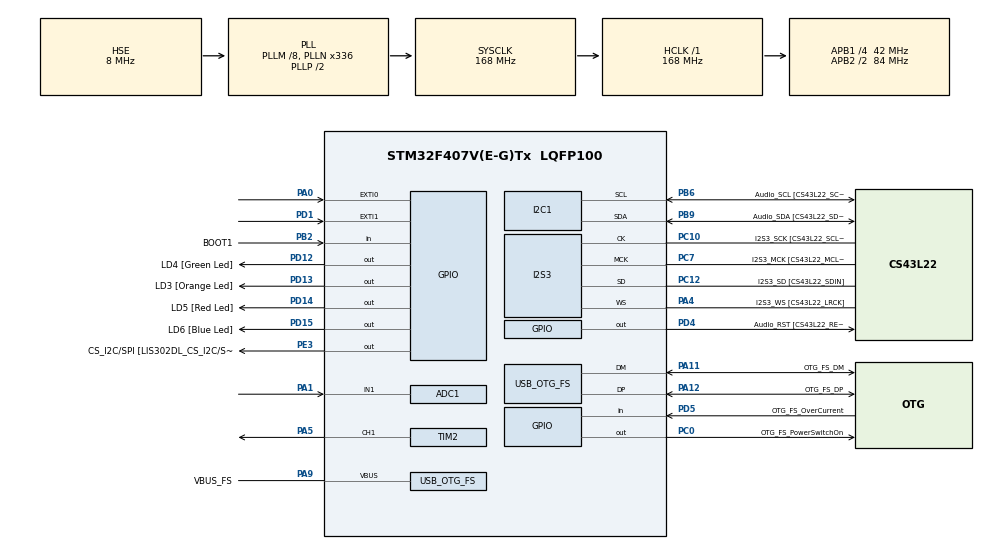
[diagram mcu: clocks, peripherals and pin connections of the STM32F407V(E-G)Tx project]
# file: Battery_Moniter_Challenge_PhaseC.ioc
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ADC1.Channel-0\#ChannelRegularConversion=ADC_CHANNEL_1
ADC1.ContinuousConvMode=ENABLE
ADC1.NbrOfConversionFlag=1
ADC1.Rank-0\#ChannelRegularConversion=1
ADC1.SamplingTime-0\#ChannelRegularConversion=ADC_SAMPLETIME_480CYCLES
ADC1.master=1
I2S3.AudioFreq-Half_Duplex_Master=I2S_AUDIOFREQ_96K
I2S3.ErrorAudioFreq=-2.34 %
I2S3.ErrorAudioFreq-Half_Duplex_Master=0.8 %
I2S3.FullDuplexMode=I2S_FULLDUPLEXMODE_DISABLE
I2S3.Instance=SPI$Index
I2S3.RealAudioFreq=93.75 KHz
I2S3.RealAudioFreq-Half_Duplex_Master=96.774 KHz
I2S3.VirtualMode=I2S_MODE_MASTER
Mcu.Family=STM32F4
Mcu.Name=STM32F407V(E-G)Tx
Mcu.Package=LQFP100
NVIC.ADC_IRQn=true\:0\:0\:false\:false\:true\:true\:true\:true
NVIC.EXTI1_IRQn=true\:0\:0\:false\:false\:true\:true\:true\:true
NVIC.OTG_FS_IRQn=true\:0\:0\:false\:false\:true\:true\:true\:true
NVIC.PriorityGroup=NVIC_PRIORITYGROUP_0
PA0-WKUP.GPIO_ModeDefaultEXTI=GPIO_MODE_IT_RISING
PA0-WKUP.GPIO_PuPd=GPIO_PULLDOWN
PA0-WKUP.Signal=GPXTI0
PA1.Signal=ADCx_IN1
PA10.GPIO_Label=OTG_FS_ID
PA10.GPIO_Mode=GPIO_MODE_AF_PP
PA10.GPIO_PuPd=GPIO_NOPULL
PA10.GPIO_Speed=GPIO_SPEED_FREQ_LOW
PA10.Signal=USB_OTG_FS_ID
PA11.GPIO_Label=OTG_FS_DM
PA11.GPIO_Mode=GPIO_MODE_AF_PP
PA11.GPIO_PuPd=GPIO_NOPULL
PA11.GPIO_Speed=GPIO_SPEED_FREQ_LOW
PA11.Mode=Host_Only
PA11.Signal=USB_OTG_FS_DM
PA12.GPIO_Label=OTG_FS_DP
PA12.GPIO_Mode=GPIO_MODE_AF_PP
PA12.GPIO_PuPd=GPIO_NOPULL
PA12.GPIO_Speed=GPIO_SPEED_FREQ_LOW
PA12.Mode=Host_Only
PA12.Signal=USB_OTG_FS_DP
PA13.GPIO_Label=SWDIO
PA13.Mode=Serial_Wire
PA13.Signal=SYS_JTMS-SWDIO
PA14.GPIO_Label=SWCLK
PA14.Mode=Serial_Wire
PA14.Signal=SYS_JTCK-SWCLK
PA4.GPIO_Label=I2S3_WS [CS43L22_LRCK]
PA4.GPIO_Mode=GPIO_MODE_AF_PP
PA4.GPIO_PuPd=GPIO_NOPULL
PA4.GPIO_Speed=GPIO_SPEED_FREQ_LOW
PA4.Mode=Half_Duplex_Master
PA4.Signal=I2S3_WS
PA5.Signal=S_TIM2_CH1_ETR
PA9.GPIO_Label=VBUS_FS
PA9.GPIO_Mode=GPIO_MODE_INPUT
PA9.GPIO_PuPd=GPIO_NOPULL
PA9.Mode=Activate_VBUS
PA9.Signal=USB_OTG_FS_VBUS
PB10.GPIO_Label=CLK_IN [MP45DT02_CLK]
PB10.GPIO_Mode=GPIO_MODE_AF_PP
PB10.GPIO_PuPd=GPIO_NOPULL
PB10.GPIO_Speed=GPIO_SPEED_FREQ_LOW
PB10.Signal=I2S2_CK
PB2.GPIO_Label=BOOT1
PB2.GPIO_Mode=GPIO_MODE_INPUT
PB2.GPIO_PuPd=GPIO_NOPULL
PB2.Signal=GPIO_Input
PB3.GPIO_Label=SWO
PB3.Signal=SYS_JTDO-SWO
PB6.GPIO_Label=Audio_SCL [CS43L22_SCL]
PB6.GPIO_Mode=GPIO_MODE_AF_OD
PB6.GPIO_Pu=GPIO_PULLUP
PB6.GPIO_PuPd=GPIO_NOPULL
PB6.GPIO_Speed=GPIO_SPEED_FREQ_LOW
PB6.Mode=I2C
PB6.Signal=I2C1_SCL
PB9.GPIO_Label=Audio_SDA [CS43L22_SDA]
PB9.GPIO_Mode=GPIO_MODE_AF_OD
PB9.GPIO_Pu=GPIO_PULLUP
PB9.GPIO_PuPd=GPIO_NOPULL
PB9.GPIO_Speed=GPIO_SPEED_FREQ_LOW
PB9.Mode=I2C
PB9.Signal=I2C1_SDA
PC0.GPIO_Label=OTG_FS_PowerSwitchOn
PC0.GPIO_PuPd=GPIO_NOPULL
PC0.GPIO_Speed=GPIO_SPEED_FREQ_LOW
PC0.PinState=GPIO_PIN_SET
PC0.Signal=GPIO_Output
PC10.GPIO_Label=I2S3_SCK [CS43L22_SCLK]
PC10.GPIO_Mode=GPIO_MODE_AF_PP
PC10.GPIO_PuPd=GPIO_NOPULL
PC10.GPIO_Speed=GPIO_SPEED_FREQ_LOW
PC10.Mode=Half_Duplex_Master
PC10.Signal=I2S3_CK
PC12.GPIO_Label=I2S3_SD [CS43L22_SDIN]
PC12.GPIO_Mode=GPIO_MODE_AF_PP
PC12.GPIO_PuPd=GPIO_NOPULL
PC12.GPIO_Speed=GPIO_SPEED_FREQ_LOW
PC12.Mode=Half_Duplex_Master
PC12.Signal=I2S3_SD
PC14-OSC32_IN.GPIO_Label=PC14-OSC32_IN
PC14-OSC32_IN.Mode=LSE-External-Oscillator
PC14-OSC32_IN.Signal=RCC_OSC32_IN
PC15-OSC32_OUT.GPIO_Label=PC15-OSC32_OUT
PC15-OSC32_OUT.Mode=LSE-External-Oscillator
PC15-OSC32_OUT.Signal=RCC_OSC32_OUT
PC3.GPIO_Label=PDM_OUT [MP45DT02_DOUT]
PC3.GPIO_Mode=GPIO_MODE_AF_PP
PC3.GPIO_PuPd=GPIO_NOPULL
PC3.GPIO_Speed=GPIO_SPEED_FREQ_LOW
PC3.Signal=I2S2_SD
PC7.GPIO_Label=I2S3_MCK [CS43L22_MCLK]
PC7.GPIO_Mode=GPIO_MODE_AF_PP
PC7.GPIO_PuPd=GPIO_NOPULL
PC7.GPIO_Speed=GPIO_SPEED_FREQ_LOW
PC7.Mode=Master_Clock_Activated
PC7.Signal=I2S3_MCK
PD1.GPIO_ModeDefaultEXTI=GPIO_MODE_IT_RISING_FALLING
PD1.GPIO_PuPd=GPIO_PULLDOWN
PD1.Signal=GPXTI1
PD12.GPIO_Label=LD4 [Green Led]
PD12.GPIO_PuPd=GPIO_NOPULL
PD12.GPIO_Speed=GPIO_SPEED_FREQ_LOW
PD12.Signal=GPIO_Output
PD13.GPIO_Label=LD3 [Orange Led]
PD13.GPIO_PuPd=GPIO_NOPULL
PD13.GPIO_Speed=GPIO_SPEED_FREQ_LOW
PD13.Signal=GPIO_Output
PD14.GPIO_Label=LD5 [Red Led]
PD14.GPIO_PuPd=GPIO_NOPULL
PD14.GPIO_Speed=GPIO_SPEED_FREQ_LOW
PD14.Signal=GPIO_Output
PD15.GPIO_Label=LD6 [Blue Led]
PD15.GPIO_PuPd=GPIO_NOPULL
PD15.GPIO_Speed=GPIO_SPEED_FREQ_LOW
PD15.Signal=GPIO_Output
PD4.GPIO_Label=Audio_RST [CS43L22_RESET]
PD4.GPIO_PuPd=GPIO_NOPULL
PD4.GPIO_Speed=GPIO_SPEED_FREQ_LOW
PD4.Signal=GPIO_Output
PD5.GPIO_Label=OTG_FS_OverCurrent
PD5.GPIO_Mode=GPIO_MODE_INPUT
PD5.GPIO_PuPd=GPIO_NOPULL
PD5.Signal=GPIO_Input
PE3.GPIO_Label=CS_I2C/SPI [LIS302DL_CS_I2C/SPI]
PE3.GPIO_PuPd=GPIO_NOPULL
PE3.GPIO_Speed=GPIO_SPEED_FREQ_LOW
PE3.Signal=GPIO_Output
PH0-OSC_IN.GPIO_Label=PH0-OSC_IN
PH0-OSC_IN.Mode=HSE-External-Oscillator
PH0-OSC_IN.Signal=RCC_OSC_IN
PH1-OSC_OUT.GPIO_Label=PH1-OSC_OUT
PH1-OSC_OUT.Mode=HSE-External-Oscillator
PH1-OSC_OUT.Signal=RCC_OSC_OUT
ProjectManager.HeapSize=0x200
ProjectManager.StackSize=0x400
ProjectManager.TargetToolchain=STM32CubeIDE
RCC.48MHZClocksFreq_Value=48000000
RCC.AHBFreq_Value=168000000
RCC.APB1CLKDivider=RCC_HCLK_DIV4
RCC.APB1Freq_Value=42000000
RCC.APB1TimFreq_Value=84000000
RCC.APB2CLKDivider=RCC_HCLK_DIV2
RCC.APB2Freq_Value=84000000
RCC.APB2TimFreq_Value=168000000
RCC.CortexFreq_Value=168000000
RCC.HCLKFreq_Value=168000000
RCC.HSE_VALUE=8000000
RCC.HSI_VALUE=16000000
RCC.PLLM=8
RCC.PLLN=336
RCC.PLLQ=7
RCC.SYSCLKFreq_VALUE=168000000
RCC.SYSCLKSource=RCC_SYSCLKSOURCE_PLLCLK
RCC.VCOOutputFreq_Value=336000000
SH.ADCx_IN1.0=ADC1_IN1,IN1
SH.S_TIM2_CH1_ETR.0=TIM2_CH1,PWM Generation1 CH1
TIM2.Channel-PWM\ Generation1\ CH1=TIM_CHANNEL_1
TIM2.Period=1000-1
TIM2.Prescaler=8400-1
TIM2.Pulse-PWM\ Generation1\ CH1=500
USB_HOST.BSP.number=1
USB_HOST.USBH_HandleTypeDef-CDC_FS=hUsbHostFS
USB_HOST.VirtualModeFS=Cdc
USB_HOST0.BSP.STBoard=false
USB_HOST0.BSP.api=Unknown
USB_HOST0.BSP.instance=PC0
USB_HOST0.BSP.ip=GPIO
USB_HOST0.BSP.mode=Output
USB_HOST0.BSP.name=Drive_VBUS_FS
USB_HOST0.BSP.solution=PC0
USB_OTG_FS.VirtualMode=Host_Only
USB_OTG_FS.phy_itface=HCD_PHY_EMBEDDED
VP_USB_HOST_VS_USB_HOST_CDC_FS.Mode=CDC_FS
board=STM32F407G-DISC1

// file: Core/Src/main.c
/* USER CODE BEGIN Header */
/**
  ******************************************************************************
  * @file           : main.c
  * @brief          : Main program body
  ******************************************************************************
  */
/* USER CODE END Header */
#include "main.h"
#include "usb_host.h"

ADC_HandleTypeDef hadc1;

I2C_HandleTypeDef hi2c1;

I2S_HandleTypeDef hi2s3;

TIM_HandleTypeDef htim2;

/* USER CODE BEGIN PV */
volatile uint8_t click_count = 0;
volatile uint32_t last_click_time = 0;
uint32_t click_window_ms = 600;

uint16_t gADC_Value = 0;
uint32_t pulse = 0;
/* USER CODE END PV */

void SystemClock_Config(void);
static void MX_GPIO_Init(void);
static void MX_I2C1_Init(void);
static void MX_I2S3_Init(void);
static void MX_ADC1_Init(void);
static void MX_TIM2_Init(void);
void MX_USB_HOST_Process(void);

int main(void)
{

  /* MCU Configuration--------------------------------------------------------*/

  /* Reset of all peripherals, Initializes the Flash interface and the Systick. */
  HAL_Init();

  /* Configure the system clock */
  SystemClock_Config();

  /* Initialize all configured peripherals */
  MX_GPIO_Init();
  MX_I2C1_Init();
  MX_I2S3_Init();
  MX_USB_HOST_Init();
  MX_ADC1_Init();
  MX_TIM2_Init();

  /* Infinite loop */
  /* USER CODE BEGIN WHILE */
  while (1)
  {
	    uint32_t now = HAL_GetTick();
	    if (click_count > 0 && (now - last_click_time > click_window_ms))
	    {
	        if (click_count == 1)
	        {
	            pulse = 0;
	        }
	        else if (click_count == 2)
	        {
	            pulse = 500;
	            // Optional: set direction pin LOW (CCW)
	            // HAL_GPIO_WritePin(GPIOD, GPIO_PIN_0, GPIO_PIN_RESET);
	        }
	        else if (click_count == 3)
	        {
	            pulse = 500;
	            // Optional: set direction pin HIGH (CW)
	            // HAL_GPIO_WritePin(GPIOD, GPIO_PIN_0, GPIO_PIN_SET);
	        }

	        __HAL_TIM_SET_COMPARE(&htim2, TIM_CHANNEL_1, pulse);
	        click_count = 0;
	    }

	/* USER CODE END WHILE */
    MX_USB_HOST_Process();

  }
}

void SystemClock_Config(void)
{
  RCC_OscInitTypeDef RCC_OscInitStruct = {0};
  RCC_ClkInitTypeDef RCC_ClkInitStruct = {0};

  /** Configure the main internal regulator output voltage
  */
  __HAL_RCC_PWR_CLK_ENABLE();
  __HAL_PWR_VOLTAGESCALING_CONFIG(PWR_REGULATOR_VOLTAGE_SCALE1);

  /** Initializes the RCC Oscillators according to the specified parameters
  * in the RCC_OscInitTypeDef structure.
  */
  RCC_OscInitStruct.OscillatorType = RCC_OSCILLATORTYPE_HSE;
  RCC_OscInitStruct.HSEState = RCC_HSE_ON;
  RCC_OscInitStruct.PLL.PLLState = RCC_PLL_ON;
  RCC_OscInitStruct.PLL.PLLSource = RCC_PLLSOURCE_HSE;
  RCC_OscInitStruct.PLL.PLLM = 8;
  RCC_OscInitStruct.PLL.PLLN = 336;
  RCC_OscInitStruct.PLL.PLLP = RCC_PLLP_DIV2;
  RCC_OscInitStruct.PLL.PLLQ = 7;
  if (HAL_RCC_OscConfig(&RCC_OscInitStruct) != HAL_OK)
  {
    Error_Handler();
  }

  /** Initializes the CPU, AHB and APB buses clocks
  */
  RCC_ClkInitStruct.ClockType = RCC_CLOCKTYPE_HCLK|RCC_CLOCKTYPE_SYSCLK
                              |RCC_CLOCKTYPE_PCLK1|RCC_CLOCKTYPE_PCLK2;
  RCC_ClkInitStruct.SYSCLKSource = RCC_SYSCLKSOURCE_PLLCLK;
  RCC_ClkInitStruct.AHBCLKDivider = RCC_SYSCLK_DIV1;
  RCC_ClkInitStruct.APB1CLKDivider = RCC_HCLK_DIV4;
  RCC_ClkInitStruct.APB2CLKDivider = RCC_HCLK_DIV2;

  if (HAL_RCC_ClockConfig(&RCC_ClkInitStruct, FLASH_LATENCY_5) != HAL_OK)
  {
    Error_Handler();
  }
}

static void MX_ADC1_Init(void)
{

  ADC_ChannelConfTypeDef sConfig = {0};

  /** Configure the global features of the ADC (Clock, Resolution, Data Alignment and number of conversion)
  */
  hadc1.Instance = ADC1;
  hadc1.Init.ClockPrescaler = ADC_CLOCK_SYNC_PCLK_DIV4;
  hadc1.Init.Resolution = ADC_RESOLUTION_12B;
  hadc1.Init.ScanConvMode = DISABLE;
  hadc1.Init.ContinuousConvMode = ENABLE;
  hadc1.Init.DiscontinuousConvMode = DISABLE;
  hadc1.Init.ExternalTrigConvEdge = ADC_EXTERNALTRIGCONVEDGE_NONE;
  hadc1.Init.ExternalTrigConv = ADC_SOFTWARE_START;
  hadc1.Init.DataAlign = ADC_DATAALIGN_RIGHT;
  hadc1.Init.NbrOfConversion = 1;
  hadc1.Init.DMAContinuousRequests = DISABLE;
  hadc1.Init.EOCSelection = ADC_EOC_SINGLE_CONV;
  if (HAL_ADC_Init(&hadc1) != HAL_OK)
  {
    Error_Handler();
  }

  /** Configure for the selected ADC regular channel its corresponding rank in the sequencer and its sample time.
  */
  sConfig.Channel = ADC_CHANNEL_1;
  sConfig.Rank = 1;
  sConfig.SamplingTime = ADC_SAMPLETIME_480CYCLES;
  if (HAL_ADC_ConfigChannel(&hadc1, &sConfig) != HAL_OK)
  {
    Error_Handler();
  }

}

static void MX_I2C1_Init(void)
{

  hi2c1.Instance = I2C1;
  hi2c1.Init.ClockSpeed = 100000;
  hi2c1.Init.DutyCycle = I2C_DUTYCYCLE_2;
  hi2c1.Init.OwnAddress1 = 0;
  hi2c1.Init.AddressingMode = I2C_ADDRESSINGMODE_7BIT;
  hi2c1.Init.DualAddressMode = I2C_DUALADDRESS_DISABLE;
  hi2c1.Init.OwnAddress2 = 0;
  hi2c1.Init.GeneralCallMode = I2C_GENERALCALL_DISABLE;
  hi2c1.Init.NoStretchMode = I2C_NOSTRETCH_DISABLE;
  if (HAL_I2C_Init(&hi2c1) != HAL_OK)
  {
    Error_Handler();
  }

}

static void MX_I2S3_Init(void)
{

  hi2s3.Instance = SPI3;
  hi2s3.Init.Mode = I2S_MODE_MASTER_TX;
  hi2s3.Init.Standard = I2S_STANDARD_PHILIPS;
  hi2s3.Init.DataFormat = I2S_DATAFORMAT_16B;
  hi2s3.Init.MCLKOutput = I2S_MCLKOUTPUT_ENABLE;
  hi2s3.Init.AudioFreq = I2S_AUDIOFREQ_96K;
  hi2s3.Init.CPOL = I2S_CPOL_LOW;
  hi2s3.Init.ClockSource = I2S_CLOCK_PLL;
  hi2s3.Init.FullDuplexMode = I2S_FULLDUPLEXMODE_DISABLE;
  if (HAL_I2S_Init(&hi2s3) != HAL_OK)
  {
    Error_Handler();
  }

}

static void MX_TIM2_Init(void)
{

  TIM_MasterConfigTypeDef sMasterConfig = {0};
  TIM_OC_InitTypeDef sConfigOC = {0};

  htim2.Instance = TIM2;
  htim2.Init.Prescaler = 8400-1;
  htim2.Init.CounterMode = TIM_COUNTERMODE_UP;
  htim2.Init.Period = 1000-1;
  htim2.Init.ClockDivision = TIM_CLOCKDIVISION_DIV1;
  htim2.Init.AutoReloadPreload = TIM_AUTORELOAD_PRELOAD_DISABLE;
  if (HAL_TIM_PWM_Init(&htim2) != HAL_OK)
  {
    Error_Handler();
  }
  sMasterConfig.MasterOutputTrigger = TIM_TRGO_RESET;
  sMasterConfig.MasterSlaveMode = TIM_MASTERSLAVEMODE_DISABLE;
  if (HAL_TIMEx_MasterConfigSynchronization(&htim2, &sMasterConfig) != HAL_OK)
  {
    Error_Handler();
  }
  sConfigOC.OCMode = TIM_OCMODE_PWM1;
  sConfigOC.Pulse = 500;
  sConfigOC.OCPolarity = TIM_OCPOLARITY_HIGH;
  sConfigOC.OCFastMode = TIM_OCFAST_DISABLE;
  if (HAL_TIM_PWM_ConfigChannel(&htim2, &sConfigOC, TIM_CHANNEL_1) != HAL_OK)
  {
    Error_Handler();
  }
  HAL_TIM_MspPostInit(&htim2);

}

static void MX_GPIO_Init(void)
{
  GPIO_InitTypeDef GPIO_InitStruct = {0};

  /* GPIO Ports Clock Enable */
  __HAL_RCC_GPIOE_CLK_ENABLE();
  __HAL_RCC_GPIOC_CLK_ENABLE();
  __HAL_RCC_GPIOH_CLK_ENABLE();
  __HAL_RCC_GPIOA_CLK_ENABLE();
  __HAL_RCC_GPIOB_CLK_ENABLE();
  __HAL_RCC_GPIOD_CLK_ENABLE();

  /*Configure GPIO pin Output Level */
  HAL_GPIO_WritePin(CS_I2C_SPI_GPIO_Port, CS_I2C_SPI_Pin, GPIO_PIN_RESET);

  /*Configure GPIO pin Output Level */
  HAL_GPIO_WritePin(OTG_FS_PowerSwitchOn_GPIO_Port, OTG_FS_PowerSwitchOn_Pin, GPIO_PIN_SET);

  /*Configure GPIO pin Output Level */
  HAL_GPIO_WritePin(GPIOD, LD4_Pin|LD3_Pin|LD5_Pin|LD6_Pin
                          |Audio_RST_Pin, GPIO_PIN_RESET);

  /*Configure GPIO pin : CS_I2C_SPI_Pin */
  GPIO_InitStruct.Pin = CS_I2C_SPI_Pin;
  GPIO_InitStruct.Mode = GPIO_MODE_OUTPUT_PP;
  GPIO_InitStruct.Pull = GPIO_NOPULL;
  GPIO_InitStruct.Speed = GPIO_SPEED_FREQ_LOW;
  HAL_GPIO_Init(CS_I2C_SPI_GPIO_Port, &GPIO_InitStruct);

  /*Configure GPIO pin : OTG_FS_PowerSwitchOn_Pin */
  GPIO_InitStruct.Pin = OTG_FS_PowerSwitchOn_Pin;
  GPIO_InitStruct.Mode = GPIO_MODE_OUTPUT_PP;
  GPIO_InitStruct.Pull = GPIO_NOPULL;
  GPIO_InitStruct.Speed = GPIO_SPEED_FREQ_LOW;
  HAL_GPIO_Init(OTG_FS_PowerSwitchOn_GPIO_Port, &GPIO_InitStruct);

  /*Configure GPIO pin : PDM_OUT_Pin */
  GPIO_InitStruct.Pin = PDM_OUT_Pin;
  GPIO_InitStruct.Mode = GPIO_MODE_AF_PP;
  GPIO_InitStruct.Pull = GPIO_NOPULL;
  GPIO_InitStruct.Speed = GPIO_SPEED_FREQ_LOW;
  GPIO_InitStruct.Alternate = GPIO_AF5_SPI2;
  HAL_GPIO_Init(PDM_OUT_GPIO_Port, &GPIO_InitStruct);

  /*Configure GPIO pin : PA0 */
  GPIO_InitStruct.Pin = GPIO_PIN_0;
  GPIO_InitStruct.Mode = GPIO_MODE_IT_RISING;
  GPIO_InitStruct.Pull = GPIO_PULLDOWN;
  HAL_GPIO_Init(GPIOA, &GPIO_InitStruct);

  /*Configure GPIO pin : BOOT1_Pin */
  GPIO_InitStruct.Pin = BOOT1_Pin;
  GPIO_InitStruct.Mode = GPIO_MODE_INPUT;
  GPIO_InitStruct.Pull = GPIO_NOPULL;
  HAL_GPIO_Init(BOOT1_GPIO_Port, &GPIO_InitStruct);

  /*Configure GPIO pin : CLK_IN_Pin */
  GPIO_InitStruct.Pin = CLK_IN_Pin;
  GPIO_InitStruct.Mode = GPIO_MODE_AF_PP;
  GPIO_InitStruct.Pull = GPIO_NOPULL;
  GPIO_InitStruct.Speed = GPIO_SPEED_FREQ_LOW;
  GPIO_InitStruct.Alternate = GPIO_AF5_SPI2;
  HAL_GPIO_Init(CLK_IN_GPIO_Port, &GPIO_InitStruct);

  /*Configure GPIO pins : LD4_Pin LD3_Pin LD5_Pin LD6_Pin
                           Audio_RST_Pin */
  GPIO_InitStruct.Pin = LD4_Pin|LD3_Pin|LD5_Pin|LD6_Pin
                          |Audio_RST_Pin;
  GPIO_InitStruct.Mode = GPIO_MODE_OUTPUT_PP;
  GPIO_InitStruct.Pull = GPIO_NOPULL;
  GPIO_InitStruct.Speed = GPIO_SPEED_FREQ_LOW;
  HAL_GPIO_Init(GPIOD, &GPIO_InitStruct);

  /*Configure GPIO pin : PD1 */
  GPIO_InitStruct.Pin = GPIO_PIN_1;
  GPIO_InitStruct.Mode = GPIO_MODE_IT_RISING_FALLING;
  GPIO_InitStruct.Pull = GPIO_PULLDOWN;
  HAL_GPIO_Init(GPIOD, &GPIO_InitStruct);

  /*Configure GPIO pin : OTG_FS_OverCurrent_Pin */
  GPIO_InitStruct.Pin = OTG_FS_OverCurrent_Pin;
  GPIO_InitStruct.Mode = GPIO_MODE_INPUT;
  GPIO_InitStruct.Pull = GPIO_NOPULL;
  HAL_GPIO_Init(OTG_FS_OverCurrent_GPIO_Port, &GPIO_InitStruct);

  /* EXTI interrupt init*/
  HAL_NVIC_SetPriority(EXTI1_IRQn, 0, 0);
  HAL_NVIC_EnableIRQ(EXTI1_IRQn);

}

/* USER CODE BEGIN 4 */

void HAL_GPIO_EXTI_Callback(uint16_t GPIO_Pin)
{
    if (GPIO_Pin == GPIO_PIN_0) // PA0
    {
        uint32_t now = HAL_GetTick();

        if (now - last_click_time < click_window_ms)
        {
            click_count++;
        }
        else
        {
            click_count = 1;
        }

        last_click_time = now;
    }
}

/* USER CODE END 4 */

void Error_Handler(void)
{
  __disable_irq();
  while (1)
  {
  }
}
